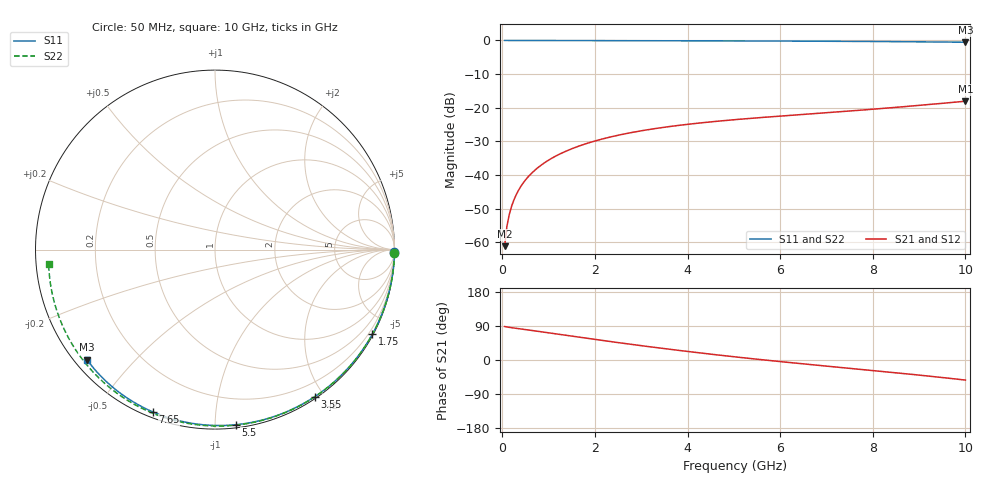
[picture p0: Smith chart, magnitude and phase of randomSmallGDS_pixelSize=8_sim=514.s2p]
! freq	dB(S11)	phase(S11)	dB(S12)	phase(S12)
!  dB(S21)	phase(S21)	dB(S22)	phase(S22)
!S-par simulation data
#  GHz  S  DB  R 50
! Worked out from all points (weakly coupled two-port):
!   200 points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, 50 MHz to 10 GHz, reference 50 ohm
!   highest |S21| = -18.06 dB at 10 GHz (marker M1); lowest = -61.2 dB at 50 MHz (marker M2)
!   lowest |S11| = -0.5 dB at 10 GHz (marker M3), VSWR 32.86, Z = 1.73 - j18.5 ohm
!   |S11| at or under -10 dB: nowhere
!   |S22| runs from -0.6 to 0.0 dB; largest |S21 - S12| = 0
!   S11 on the Smith chart (normalised r, x): 50 MHz: open; 1.75 GHz: 0.04, -3.98; 3.55 GHz: 0.02, -1.89; 5.5 GHz: 0.02, -1.12; 7.65 GHz: 0.02, -0.69; 10 GHz: 0.03, -0.37
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0.05  -0.00 -0.8  -61.17 88.3  -61.17 88.3  -0.00 -1.0
0.1  -0.00 -1.6  -55.24 87.0  -55.24 87.0  -0.00 -2.0
0.15  -0.00 -2.5  -51.79 86.1  -51.79 86.1  -0.00 -3.0
0.2  -0.00 -3.3  -49.34 85.2  -49.34 85.2  -0.00 -4.0
0.25  -0.00 -4.1  -47.44 84.4  -47.44 84.4  -0.00 -5.0
0.35  -0.00 -5.7  -44.56 82.8  -44.56 82.8  -0.01 -7.0
0.5  -0.01 -8.2  -41.50 80.3  -41.50 80.3  -0.01 -10.0
0.7  -0.01 -11.4  -38.62 76.9  -38.62 76.9  -0.02 -14.0
1  -0.02 -16.3  -35.58 71.6  -35.58 71.6  -0.03 -19.9
1.35  -0.03 -21.9  -33.07 65.5  -33.07 65.5  -0.04 -26.8
1.75  -0.04 -28.2  -30.96 58.6  -30.96 58.6  -0.05 -34.5
2.6  -0.06 -41.5  -27.90 44.3  -27.90 44.3  -0.07 -50.6
3.4  -0.08 -53.6  -26.00 31.6  -26.00 31.6  -0.10 -65.3
3.55  -0.09 -55.8  -25.71 29.3  -25.71 29.3  -0.10 -68.0
4.3  -0.11 -66.7  -24.49 18.2  -24.49 18.2  -0.13 -81.1
5.05  -0.13 -77.2  -23.52 7.9  -23.52 7.9  -0.16 -93.9
5.5  -0.15 -83.3  -23.02 2.1  -23.02 2.1  -0.18 -101.3
6.7  -0.21 -99.0  -21.79 -12.6  -21.79 -12.6  -0.26 -120.7
7.65  -0.28 -111.0  -20.82 -23.7  -20.82 -23.7  -0.34 -135.9
8.35  -0.34 -119.5  -20.06 -31.9  -20.06 -31.9  -0.41 -147.1
9.2  -0.43 -129.8  -19.07 -42.4  -19.07 -42.4  -0.51 -161.2
10  -0.53 -139.3  -18.06 -53.0  -18.06 -53.0  -0.63 -175.2
